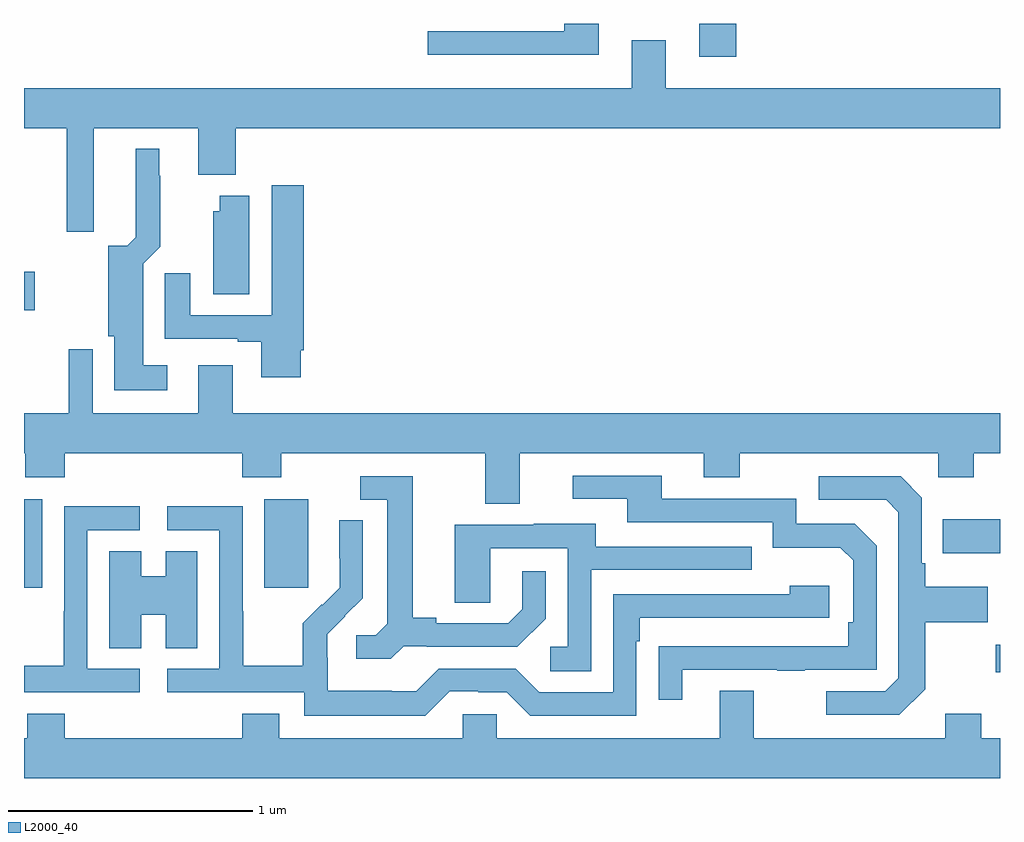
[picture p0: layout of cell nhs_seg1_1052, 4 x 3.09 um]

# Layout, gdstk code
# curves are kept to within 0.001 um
import gdstk
lib = gdstk.Library(unit=1e-6, precision=1e-09)
def R(c, l, rs):  # rectangles x0, y0, x1, y1
    for r in rs: c.add(gdstk.rectangle(r[:2], r[2:], *l))
def P(c, l, *ps):  # polygons
    for p in ps: c.add(gdstk.Polygon(p, *l))
L2000_40 = (2000, 40)

nhs_seg1_1052 = lib.new_cell('nhs_seg1_1052')
R(nhs_seg1_1052, L2000_40, [(172.983,509.541,173,509.654), (169,509.889,169.075,510.25), (169.985,509.889,170.164,510.25), (172.765,510.029,173,510.169), (169,511.025,169.045,511.183), (171.767,512.064,171.92,512.199)])
P(nhs_seg1_1052, L2000_40, [(171.355,512.199),(171.215,512.199),(171.215,512.169),(170.655,512.169),(170.655,512.072),(171.355,512.072)],
  [(169,511.772),(169.175,511.772),(169.175,511.347),(169.285,511.347),(169.285,511.772),(169.715,511.772),(169.715,511.58),(169.868,511.58),(169.868,511.772),(173,511.772),(173,511.936),(171.631,511.936),(171.631,512.131),(171.491,512.131),(171.491,511.936),(169,511.936)],
  [(169.588,510.799),(169.489,510.799),(169.489,511.216),(169.559,511.286),(169.559,511.577),(169.555,511.577),(169.555,511.687),(169.457,511.687),(169.458,511.324),(169.424,511.29),(169.346,511.29),(169.346,510.918),(169.37,510.918),(169.37,510.698),(169.588,510.698)],
  [(170.134,510.862),(170.147,510.862),(170.147,511.537),(170.015,511.537),(170.015,511.005),(169.681,511.005),(169.681,511.177),(169.577,511.177),(169.577,510.909),(169.877,510.909),(169.877,510.897),(169.973,510.897),(169.973,510.75),(170.134,510.75)],
  [(169.924,511.495),(169.802,511.495),(169.802,511.431),(169.775,511.431),(169.775,511.09),(169.924,511.09)],
  [(169.855,510.799),(169.715,510.799),(169.715,510.604),(169.281,510.604),(169.281,510.865),(169.184,510.865),(169.184,510.604),(169,510.604),(169,510.44),(169.006,510.44),(169.006,510.341),(169.166,510.341),(169.166,510.44),(169.895,510.44),(169.895,510.341),(170.055,510.341),(170.055,510.44),(170.891,510.44),(170.891,510.232),(171.031,510.232),(171.031,510.44),(171.785,510.44),(171.785,510.341),(171.933,510.341),(171.933,510.44),(172.746,510.44),(172.746,510.341),(172.893,510.341),(172.893,510.44),(173,510.44),(173,510.604),(169.855,510.604)],
  [(171.697,509.553),(172.087,509.553),(172.087,509.548),(172.199,509.548),(172.199,509.553),(172.494,509.553),(172.494,510.06),(172.404,510.15),(172.164,510.15),(172.164,510.252),(171.613,510.252),(171.613,510.348),(171.249,510.348),(171.249,510.252),(171.473,510.252),(171.473,510.156),(172.068,510.156),(172.068,510.053),(172.345,510.053),(172.398,510),(172.398,509.746),(172.378,509.746),(172.378,509.649),(171.601,509.648),(171.601,509.43),(171.697,509.43)],
  [(170.556,509.649),(170.65,509.649),(170.65,509.646),(171.022,509.646),(171.138,509.762),(171.138,509.956),(171.041,509.956),(171.041,509.799),(170.984,509.742),(170.689,509.742),(170.689,509.765),(170.593,509.765),(170.593,510.345),(170.379,510.345),(170.379,510.249),(170.489,510.249),(170.489,509.741),(170.442,509.694),(170.361,509.694),(170.361,509.597),(170.504,509.597)],
  [(172.693,509.473),(172.693,509.746),(172.949,509.746),(172.949,509.893),(172.693,509.893),(172.693,509.989),(172.68,509.989),(172.68,510.258),(172.593,510.345),(172.257,510.345),(172.257,510.249),(172.533,510.249),(172.584,510.198),(172.584,509.517),(172.53,509.463),(172.287,509.463),(172.287,509.367),(172.587,509.367)],
  [(169.474,509.556),(169.26,509.556),(169.26,510.123),(169.474,510.123),(169.474,510.222),(169.164,510.222),(169.164,509.792),(169.162,509.792),(169.162,509.569),(169,509.569),(169,509.46),(169.474,509.46)],
  [(170.745,509.463),(170.861,509.463),(170.861,509.46),(170.979,509.46),(171.075,509.364),(171.51,509.364),(171.51,509.669),(171.523,509.669),(171.523,509.766),(172.3,509.766),(172.3,509.896),(172.139,509.896),(172.139,509.862),(171.414,509.862),(171.414,509.46),(171.111,509.46),(171.015,509.556),(170.7,509.556),(170.607,509.463),(170.507,509.463),(170.507,509.467),(170.244,509.467),(170.244,509.601),(170.242,509.601),(170.242,509.698),(170.388,509.846),(170.388,510.164),(170.292,510.164),(170.292,510.01),(170.294,510.01),(170.294,509.888),(170.223,509.817),(170.22,509.82),(170.143,509.743),(170.143,509.569),(169.899,509.569),(169.899,509.792),(169.896,509.792),(169.896,510.222),(169.587,510.222),(169.587,510.123),(169.8,510.123),(169.8,509.556),(169.587,509.556),(169.587,509.46),(170.148,509.46),(170.148,509.363),(170.645,509.363)],
  [(171.324,509.961),(171.983,509.961),(171.983,510.057),(171.343,510.057),(171.343,510.151),(171.089,510.151),(171.089,510.147),(170.765,510.147),(170.765,509.827),(170.91,509.827),(170.91,510.051),(171.228,510.051),(171.228,509.646),(171.156,509.646),(171.156,509.545),(171.324,509.545)],
  [(169.48,509.777),(169.58,509.777),(169.58,509.641),(169.711,509.641),(169.711,510.038),(169.58,510.038),(169.58,509.935),(169.48,509.935),(169.48,510.038),(169.349,510.038),(169.349,509.641),(169.48,509.641)],
  [(173,509.272),(172.923,509.272),(172.923,509.371),(172.775,509.371),(172.775,509.272),(171.991,509.272),(171.991,509.467),(171.851,509.467),(171.851,509.272),(170.937,509.272),(170.937,509.37),(170.799,509.37),(170.799,509.272),(170.047,509.272),(170.047,509.371),(169.895,509.371),(169.895,509.272),(169.166,509.272),(169.166,509.371),(169.013,509.371),(169.013,509.272),(169,509.272),(169,509.108),(173,509.108)])

lib.write_gds('nhs_seg1_1052.gds')
